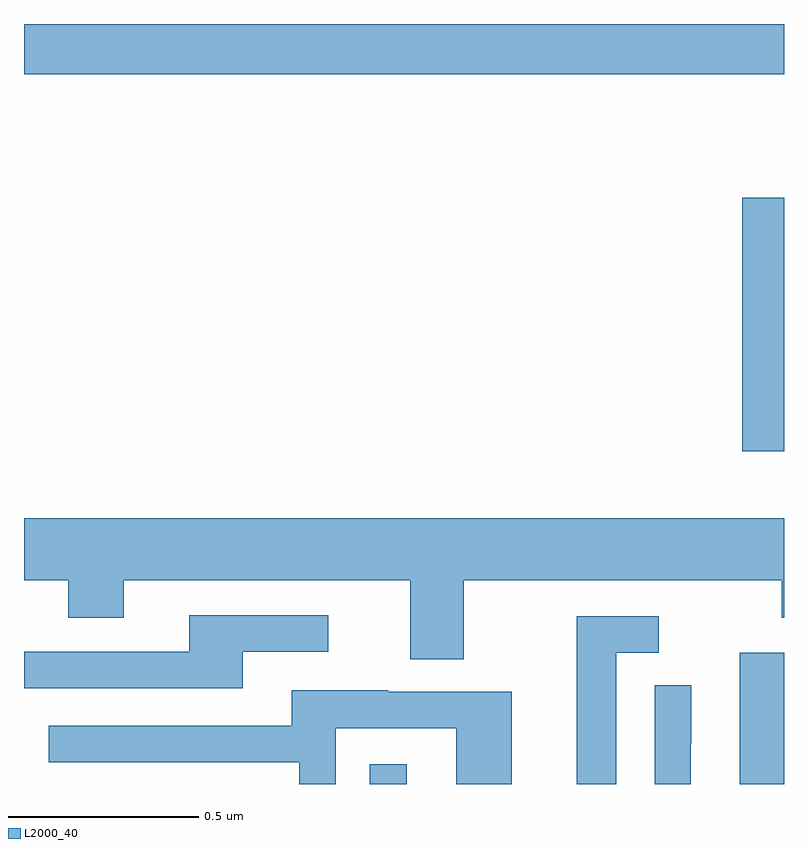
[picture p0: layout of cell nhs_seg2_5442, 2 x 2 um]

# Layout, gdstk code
import gdstk
lib = gdstk.Library(unit=1e-6, precision=1e-09)
def R(c, l, rs):  # rectangles x0, y0, x1, y1
    for r in rs: c.add(gdstk.rectangle(r[:2], r[2:], *l))
def P(c, l, *ps):  # polygons
    for p in ps: c.add(gdstk.Polygon(p, *l))
L2000_40 = (2000, 40)

nhs_seg2_5442 = lib.new_cell('nhs_seg2_5442')
R(nhs_seg2_5442, L2000_40, [(179.91,613.8,180.007,613.852), (180.884,613.8,181,614.146), (180.89,614.676,181,615.343), (179,615.668,181,615.8)])
P(nhs_seg2_5442, L2000_40, [(180.157,614.336),(180.994,614.336),(180.994,614.237),(181,614.237),(181,614.5),(179,614.5),(179,614.336),(179.116,614.336),(179.116,614.237),(179.263,614.237),(179.263,614.336),(180.017,614.336),(180.017,614.128),(180.157,614.128)],
  [(179.575,614.148),(179.8,614.148),(179.8,614.244),(179.435,614.244),(179.435,614.148),(179,614.148),(179,614.052),(179.575,614.052)],
  [(180.559,614.145),(180.67,614.145),(180.67,614.241),(180.455,614.241),(180.455,613.8),(180.559,613.8)],
  [(180.755,613.906),(180.756,613.906),(180.756,614.06),(180.66,614.06),(180.66,613.8),(180.755,613.8)],
  [(179.82,613.947),(180.138,613.947),(180.138,613.8),(180.283,613.8),(180.283,614.043),(179.959,614.043),(179.959,614.047),(179.705,614.047),(179.705,613.953),(179.065,613.953),(179.065,613.857),(179.724,613.857),(179.724,613.8),(179.82,613.8)])

lib.write_gds('nhs_seg2_5442.gds')
